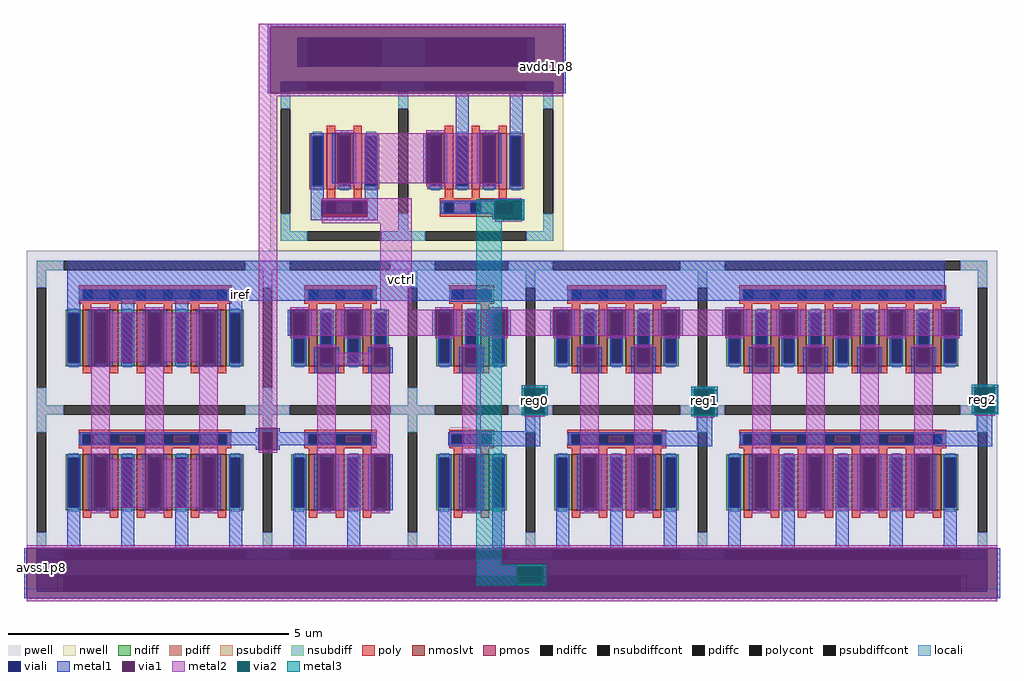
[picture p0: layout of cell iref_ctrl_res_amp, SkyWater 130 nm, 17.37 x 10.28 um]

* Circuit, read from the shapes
.subckt iref_ctrl_res_amp avdd1p8 avss1p8 iref reg0 reg1 reg2 vctrl
XM1 n1 avdd1p8 avss1p8 avss1p8 sky130_fd_pr__nfet_01v8_lvt w=1 l=0.15 m=6
XM2 n1 iref iref avss1p8 sky130_fd_pr__nfet_01v8_lvt w=1 l=0.15 m=6
XM3 n2 avdd1p8 avss1p8 avss1p8 sky130_fd_pr__nfet_01v8_lvt w=1 l=0.15 m=3
XM4 n2 iref vctrl avss1p8 sky130_fd_pr__nfet_01v8_lvt w=1 l=0.15 m=3
XM5 n3 reg0 avss1p8 avss1p8 sky130_fd_pr__nfet_01v8_lvt w=1 l=0.15 m=2
XM6 n3 iref vctrl avss1p8 sky130_fd_pr__nfet_01v8_lvt w=1 l=0.15 m=2
XM7 n4 reg1 avss1p8 avss1p8 sky130_fd_pr__nfet_01v8_lvt w=1 l=0.15 m=4
XM8 n4 iref vctrl avss1p8 sky130_fd_pr__nfet_01v8_lvt w=1 l=0.15 m=4
XM9 n5 reg2 avss1p8 avss1p8 sky130_fd_pr__nfet_01v8_lvt w=1 l=0.15 m=8
XM10 n5 iref vctrl avss1p8 sky130_fd_pr__nfet_01v8_lvt w=1 l=0.15 m=8
XM11 n6 vctrl vctrl avdd1p8 sky130_fd_pr__pfet_01v8 w=1 l=0.15 m=2
XM12 avdd1p8 avss1p8 n6 avdd1p8 sky130_fd_pr__pfet_01v8 w=1 l=0.15 m=3
.ends

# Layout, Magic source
magic
tech sky130A
magscale 1 2
<< nwell >>
rect 291 1100 1333 1369
<< pwell >>
rect -576 -643 2878 -503
<< psubdiff >>
rect -468 -652 -444 -595
rect 2746 -652 2770 -595
<< nsubdiff >>
rect 387 1217 423 1319
rect 685 1217 843 1319
rect 1201 1217 1231 1319
<< psubdiffcont >>
rect -444 -652 2746 -595
<< nsubdiffcont >>
rect 423 1217 685 1319
rect 843 1217 1201 1319
<< viali >>
rect 387 1217 423 1319
rect 423 1217 685 1319
rect 685 1217 843 1319
rect 843 1217 1201 1319
rect 1201 1217 1231 1319
rect 327 1129 1297 1163
rect -540 -595 2842 -503
rect -540 -652 -444 -595
rect -444 -652 2746 -595
rect 2746 -652 2842 -595
<< metal1 >>
rect 281 1359 1343 1369
rect 281 1122 291 1359
rect 1333 1122 1343 1359
rect 511 801 521 980
rect 587 801 597 980
rect 835 801 845 980
rect 911 801 921 980
rect 951 977 997 1122
rect 1027 801 1037 980
rect 1103 801 1113 980
rect 1143 978 1189 1122
rect 435 749 481 791
rect 627 749 673 791
rect 435 739 673 749
rect 435 682 473 739
rect 635 682 673 739
rect 435 670 673 682
rect 1080 674 1090 739
rect 1185 674 1195 739
rect -432 389 2692 525
rect -432 350 -386 389
rect -240 351 -194 389
rect -48 351 -2 389
rect 128 383 2690 389
rect 144 351 190 383
rect -356 151 -346 351
rect -280 151 -270 351
rect -164 151 -154 351
rect -88 151 -78 351
rect 28 151 38 351
rect 104 151 114 351
rect 352 259 362 351
rect 428 259 438 351
rect 544 259 554 351
rect 620 259 630 351
rect 868 259 878 351
rect 944 259 954 351
rect 1060 259 1070 351
rect 1136 259 1146 351
rect 1288 259 1298 351
rect 1364 259 1374 351
rect 1480 259 1490 351
rect 1556 259 1566 351
rect 1672 259 1682 351
rect 1748 259 1758 351
rect 1900 259 1910 351
rect 1976 259 1986 351
rect 2092 259 2102 351
rect 2168 259 2178 351
rect 2284 259 2294 351
rect 2360 259 2370 351
rect 2476 259 2486 351
rect 2552 259 2562 351
rect 2668 259 2678 351
rect 2744 259 2754 351
rect 448 125 458 217
rect 524 125 534 217
rect 640 125 650 217
rect 716 125 726 217
rect 964 125 974 217
rect 1040 125 1050 217
rect 1384 125 1394 217
rect 1460 125 1470 217
rect 1576 125 1586 217
rect 1652 125 1662 217
rect 1996 125 2006 217
rect 2072 125 2082 217
rect 2188 125 2198 217
rect 2264 125 2274 217
rect 2380 125 2390 217
rect 2456 125 2466 217
rect 2572 125 2582 217
rect 2648 125 2658 217
rect 1185 -19 1195 72
rect 1267 -19 1277 72
rect 1809 68 1863 71
rect 239 -85 249 -70
rect 146 -131 249 -85
rect 239 -147 249 -131
rect 315 -85 325 -70
rect 1198 -81 1252 -19
rect 1789 -23 1799 68
rect 1871 -23 1881 68
rect 2788 -16 2798 75
rect 2870 -16 2880 75
rect 1809 -80 1863 -23
rect 2806 -80 2860 -16
rect 315 -131 426 -85
rect 315 -147 325 -131
rect 1067 -135 1252 -81
rect 1682 -134 1863 -80
rect 2658 -134 2860 -80
rect -356 -363 -346 -163
rect -280 -363 -270 -163
rect -164 -363 -154 -163
rect -88 -363 -78 -163
rect 28 -363 38 -163
rect 104 -363 114 -163
rect -432 -497 -386 -363
rect -240 -497 -194 -363
rect -48 -497 -2 -363
rect 144 -497 190 -363
rect 372 -497 418 -357
rect 448 -363 458 -163
rect 524 -363 534 -163
rect 564 -497 610 -357
rect 640 -363 650 -163
rect 716 -363 726 -163
rect 888 -497 934 -359
rect 964 -363 974 -163
rect 1040 -363 1050 -163
rect 1080 -497 1126 -359
rect 1308 -497 1354 -357
rect 1384 -363 1394 -163
rect 1460 -363 1470 -163
rect 1500 -497 1546 -358
rect 1576 -363 1586 -163
rect 1652 -363 1662 -163
rect 1692 -497 1738 -358
rect 1920 -497 1966 -360
rect 1996 -363 2006 -163
rect 2072 -363 2082 -163
rect 2112 -497 2158 -358
rect 2188 -363 2198 -163
rect 2264 -363 2274 -163
rect 2304 -497 2350 -356
rect 2380 -363 2390 -163
rect 2456 -363 2466 -163
rect 2496 -497 2542 -358
rect 2572 -363 2582 -163
rect 2648 -363 2658 -163
rect 2688 -497 2734 -355
rect -586 -676 -576 -497
rect 2878 -676 2888 -497
<< via1 >>
rect 291 1319 1333 1359
rect 291 1217 387 1319
rect 387 1217 1231 1319
rect 1231 1217 1333 1319
rect 291 1163 1333 1217
rect 291 1129 327 1163
rect 327 1129 1297 1163
rect 1297 1129 1333 1163
rect 291 1122 1333 1129
rect 521 801 587 980
rect 845 801 911 980
rect 1037 801 1103 980
rect 473 682 635 739
rect 1090 674 1185 739
rect -346 151 -280 351
rect -154 151 -88 351
rect 38 151 104 351
rect 362 259 428 351
rect 554 259 620 351
rect 878 259 944 351
rect 1070 259 1136 351
rect 1298 259 1364 351
rect 1490 259 1556 351
rect 1682 259 1748 351
rect 1910 259 1976 351
rect 2102 259 2168 351
rect 2294 259 2360 351
rect 2486 259 2552 351
rect 2678 259 2744 351
rect 458 125 524 217
rect 650 125 716 217
rect 974 125 1040 217
rect 1394 125 1460 217
rect 1586 125 1652 217
rect 2006 125 2072 217
rect 2198 125 2264 217
rect 2390 125 2456 217
rect 2582 125 2648 217
rect 1195 -19 1267 72
rect 249 -147 315 -70
rect 1799 -23 1871 68
rect 2798 -16 2870 75
rect -346 -363 -280 -163
rect -154 -363 -88 -163
rect 38 -363 104 -163
rect 458 -363 524 -163
rect 650 -363 716 -163
rect 974 -363 1040 -163
rect 1394 -363 1460 -163
rect 1586 -363 1652 -163
rect 2006 -363 2072 -163
rect 2198 -363 2264 -163
rect 2390 -363 2456 -163
rect 2582 -363 2648 -163
rect -576 -503 2878 -497
rect -576 -652 -540 -503
rect -540 -652 2842 -503
rect 2842 -652 2878 -503
rect -576 -676 2878 -652
<< metal2 >>
rect 249 1359 1333 1369
rect 249 1122 291 1359
rect 249 1112 1333 1122
rect -346 351 -280 361
rect -154 351 -88 361
rect -280 167 -154 340
rect -346 -163 -280 151
rect 38 351 104 361
rect -88 167 38 340
rect -154 -163 -88 151
rect -280 -354 -154 -181
rect -346 -373 -280 -363
rect 38 -163 104 151
rect 249 -70 315 1112
rect 521 980 587 990
rect 845 980 911 990
rect 1037 980 1103 990
rect 587 801 845 980
rect 911 801 1037 980
rect 521 791 587 801
rect 845 791 911 801
rect 1037 791 1103 801
rect 473 739 795 749
rect 635 682 795 739
rect 473 660 795 682
rect 1090 739 1185 749
rect 1090 664 1185 674
rect 362 351 428 361
rect 554 351 620 361
rect 682 351 795 660
rect 878 351 944 361
rect 1070 351 1136 361
rect 1298 351 1364 361
rect 1490 351 1556 361
rect 1682 351 1748 361
rect 1910 351 1976 361
rect 2102 351 2168 361
rect 2294 351 2360 361
rect 2486 351 2552 361
rect 2678 351 2744 361
rect 428 259 554 351
rect 620 259 878 351
rect 944 259 1070 351
rect 1136 259 1298 351
rect 1364 259 1490 351
rect 1556 259 1682 351
rect 1748 259 1910 351
rect 1976 259 2102 351
rect 2168 259 2294 351
rect 2360 259 2486 351
rect 2552 259 2678 351
rect 362 249 428 259
rect 554 249 620 259
rect 878 249 944 259
rect 1070 249 1136 259
rect 1298 249 1364 259
rect 1490 249 1556 259
rect 1682 249 1748 259
rect 1910 249 1976 259
rect 2102 249 2168 259
rect 2294 249 2360 259
rect 2486 249 2552 259
rect 2678 249 2744 259
rect 249 -157 315 -147
rect 458 217 524 227
rect 650 217 716 227
rect 524 154 650 199
rect -88 -354 38 -181
rect -154 -373 -88 -363
rect 38 -373 104 -363
rect 458 -163 524 125
rect 650 -163 716 125
rect 524 -363 650 -163
rect 458 -373 524 -363
rect 650 -373 716 -363
rect 974 217 1040 227
rect 974 -163 1040 125
rect 1394 217 1460 227
rect 1195 72 1267 82
rect 1195 -29 1267 -19
rect 974 -373 1040 -363
rect 1394 -163 1460 125
rect 1586 217 1652 227
rect 1586 -163 1652 125
rect 2006 217 2072 227
rect 1799 68 1871 78
rect 1799 -33 1871 -23
rect 1460 -363 1586 -163
rect 1394 -373 1460 -363
rect 1586 -373 1652 -363
rect 2006 -163 2072 125
rect 2198 217 2264 227
rect 2198 -163 2264 125
rect 2390 217 2456 227
rect 2390 -163 2456 125
rect 2582 217 2648 227
rect 2582 -163 2648 125
rect 2798 75 2870 85
rect 2798 -26 2870 -16
rect 2072 -363 2198 -163
rect 2264 -363 2390 -163
rect 2456 -363 2582 -163
rect 2006 -373 2072 -363
rect 2198 -373 2264 -363
rect 2390 -373 2456 -363
rect 2582 -373 2648 -363
rect -576 -497 2878 -487
rect -576 -686 2878 -676
<< via2 >>
rect 1090 674 1185 739
rect 1195 -19 1267 72
rect 1799 -23 1871 68
rect 2798 -16 2870 75
rect 1168 -626 1263 -561
<< metal3 >>
rect 1024 739 1195 744
rect 1024 674 1090 739
rect 1185 674 1195 739
rect 1024 669 1195 674
rect 1024 -556 1114 669
rect 1185 72 1279 82
rect 1185 -19 1195 72
rect 1267 -19 1279 72
rect 1185 -24 1279 -19
rect 1789 68 1883 78
rect 1789 -23 1799 68
rect 1871 -23 1883 68
rect 2788 75 2882 85
rect 2788 -16 2798 75
rect 2870 -16 2882 75
rect 2788 -21 2882 -16
rect 1789 -28 1883 -23
rect 1024 -561 1273 -556
rect 1024 -626 1168 -561
rect 1263 -626 1273 -561
rect 1024 -631 1273 -626
use sky130_fd_pr__nfet_01v8_lvt_9B2JY7  sky130_fd_pr__nfet_01v8_lvt_9B2JY7_0
transform 1 0 -121 0 1 251
box -455 -310 455 310
use sky130_fd_pr__nfet_01v8_lvt_9B2JY7  sky130_fd_pr__nfet_01v8_lvt_9B2JY7_1
transform 1 0 -121 0 1 -263
box -455 -310 455 310
use sky130_fd_pr__nfet_01v8_lvt_72JNYZ  sky130_fd_pr__nfet_01v8_lvt_72JNYZ_1
transform 1 0 539 0 1 -263
box -311 -310 311 310
use sky130_fd_pr__nfet_01v8_lvt_72JNYZ  sky130_fd_pr__nfet_01v8_lvt_72JNYZ_0
transform 1 0 539 0 1 251
box -311 -310 311 310
use sky130_fd_pr__nfet_01v8_lvt_B2JNY3  sky130_fd_pr__nfet_01v8_lvt_B2JNY3_1
transform 1 0 1523 0 1 -263
box -359 -310 359 310
use sky130_fd_pr__nfet_01v8_lvt_B2JNY3  sky130_fd_pr__nfet_01v8_lvt_B2JNY3_0
transform 1 0 1523 0 1 251
box -359 -310 359 310
use sky130_fd_pr__nfet_01v8_lvt_MVT43V  sky130_fd_pr__nfet_01v8_lvt_MVT43V_1
transform 1 0 1007 0 1 -263
box -263 -310 263 310
use sky130_fd_pr__nfet_01v8_lvt_MVT43V  sky130_fd_pr__nfet_01v8_lvt_MVT43V_0
transform 1 0 1007 0 1 251
box -263 -310 263 310
use sky130_fd_pr__nfet_01v8_lvt_NMSMYT  sky130_fd_pr__nfet_01v8_lvt_NMSMYT_1
transform 1 0 2327 0 1 -263
box -551 -310 551 310
use sky130_fd_pr__nfet_01v8_lvt_NMSMYT  sky130_fd_pr__nfet_01v8_lvt_NMSMYT_0
transform 1 0 2327 0 1 251
box -551 -310 551 310
use sky130_fd_pr__pfet_01v8_XACJHL  sky130_fd_pr__pfet_01v8_XACJHL_0
transform -1 0 554 0 1 880
box -263 -319 263 319
use sky130_fd_pr__pfet_01v8_XAYTAL  sky130_fd_pr__pfet_01v8_XAYTAL_0
transform -1 0 1022 0 1 880
box -311 -319 311 319
<< labels >>
rlabel via1 1258 1198 1292 1233 1 avdd1p8
rlabel via1 -540 -584 -506 -549 1 avss1p8
rlabel metal1 168 388 202 423 1 iref
rlabel metal2 739 441 773 476 1 vctrl
rlabel metal3 1215 9 1249 44 1 reg0
rlabel metal3 1819 10 1853 45 1 reg1
rlabel metal3 2809 13 2843 48 1 reg2
<< end >>

# cell sky130_fd_pr__nfet_01v8_lvt_9B2JY7: kit device sky130_fd_pr__nfet_01v8_lvt, w 1 l 0.150 m 1 nf 6 diffcov 100 polycov 100 guard 1 glc 1 grc 1 gtc 1 gbc 1 tbcov 100 rlcov 100 topc 1 botc 1 poverlap 0 doverlap 1 lmin 0.15 wmin 0.42 compatible {sky130_fd_pr__nfet_01v8 sky130_fd_pr__nfet_01v8_lvt sky130_fd_bs_flash__special_sonosfet_star sky130_fd_pr__nfet_g5v0d10v5 sky130_fd_pr__nfet_05v0_nvt sky130_fd_pr__nfet_03v3_nvt} full_metal 1 viasrc 100 viadrn 100 viagate 100 viagb 0 viagr 0 viagl 0 viagt 0

# cell sky130_fd_pr__nfet_01v8_lvt_72JNYZ: kit device sky130_fd_pr__nfet_01v8_lvt, w 1 l 0.150 m 1 nf 3 diffcov 100 polycov 100 guard 1 glc 1 grc 1 gtc 1 gbc 1 tbcov 100 rlcov 100 topc 1 botc 1 poverlap 0 doverlap 1 lmin 0.15 wmin 0.42 compatible {sky130_fd_pr__nfet_01v8 sky130_fd_pr__nfet_01v8_lvt sky130_fd_bs_flash__special_sonosfet_star sky130_fd_pr__nfet_g5v0d10v5 sky130_fd_pr__nfet_05v0_nvt sky130_fd_pr__nfet_03v3_nvt} full_metal 1 viasrc 100 viadrn 100 viagate 100 viagb 0 viagr 0 viagl 0 viagt 0

# cell sky130_fd_pr__nfet_01v8_lvt_B2JNY3: kit device sky130_fd_pr__nfet_01v8_lvt, w 1 l 0.150 m 1 nf 4 diffcov 100 polycov 100 guard 1 glc 1 grc 1 gtc 1 gbc 1 tbcov 100 rlcov 100 topc 1 botc 1 poverlap 0 doverlap 1 lmin 0.15 wmin 0.42 compatible {sky130_fd_pr__nfet_01v8 sky130_fd_pr__nfet_01v8_lvt sky130_fd_bs_flash__special_sonosfet_star sky130_fd_pr__nfet_g5v0d10v5 sky130_fd_pr__nfet_05v0_nvt sky130_fd_pr__nfet_03v3_nvt} full_metal 1 viasrc 100 viadrn 100 viagate 100 viagb 0 viagr 0 viagl 0 viagt 0

# cell sky130_fd_pr__nfet_01v8_lvt_MVT43V: kit device sky130_fd_pr__nfet_01v8_lvt, w 1 l 0.150 m 1 nf 2 diffcov 100 polycov 100 guard 1 glc 1 grc 1 gtc 1 gbc 1 tbcov 100 rlcov 100 topc 1 botc 0 poverlap 0 doverlap 1 lmin 0.15 wmin 0.42 compatible {sky130_fd_pr__nfet_01v8 sky130_fd_pr__nfet_01v8_lvt sky130_fd_bs_flash__special_sonosfet_star sky130_fd_pr__nfet_g5v0d10v5 sky130_fd_pr__nfet_05v0_nvt sky130_fd_pr__nfet_03v3_nvt} full_metal 1 viasrc 100 viadrn 100 viagate 100 viagb 0 viagr 0 viagl 0 viagt 0

# cell sky130_fd_pr__nfet_01v8_lvt_NMSMYT: kit device sky130_fd_pr__nfet_01v8_lvt, w 1 l 0.150 m 1 nf 8 diffcov 100 polycov 100 guard 1 glc 1 grc 1 gtc 1 gbc 1 tbcov 100 rlcov 100 topc 1 botc 1 poverlap 0 doverlap 1 lmin 0.15 wmin 0.42 compatible {sky130_fd_pr__nfet_01v8 sky130_fd_pr__nfet_01v8_lvt sky130_fd_bs_flash__special_sonosfet_star sky130_fd_pr__nfet_g5v0d10v5 sky130_fd_pr__nfet_05v0_nvt sky130_fd_pr__nfet_03v3_nvt} full_metal 1 viasrc 100 viadrn 100 viagate 100 viagb 0 viagr 0 viagl 0 viagt 0

# cell sky130_fd_pr__pfet_01v8_XACJHL: kit device sky130_fd_pr__pfet_01v8, w 1 l 0.15 m 1 nf 2 diffcov 100 polycov 100 guard 1 glc 1 grc 1 gtc 1 gbc 1 tbcov 100 rlcov 100 topc 1 botc 1 poverlap 0 doverlap 1 lmin 0.15 wmin 0.42 compatible {sky130_fd_pr__pfet_01v8 sky130_fd_pr__pfet_01v8_lvt sky130_fd_pr__pfet_01v8_hvt sky130_fd_pr__pfet_g5v0d10v5} full_metal 1 viasrc 100 viadrn 100 viagate 100 viagb 0 viagr 0 viagl 0 viagt 0

# cell sky130_fd_pr__pfet_01v8_XAYTAL: kit device sky130_fd_pr__pfet_01v8, w 1 l 0.15 m 1 nf 3 diffcov 100 polycov 100 guard 1 glc 1 grc 1 gtc 1 gbc 1 tbcov 100 rlcov 100 topc 1 botc 1 poverlap 0 doverlap 1 lmin 0.15 wmin 0.42 compatible {sky130_fd_pr__pfet_01v8 sky130_fd_pr__pfet_01v8_lvt sky130_fd_pr__pfet_01v8_hvt sky130_fd_pr__pfet_g5v0d10v5} full_metal 1 viasrc 100 viadrn 100 viagate 100 viagb 0 viagr 0 viagl 0 viagt 0
